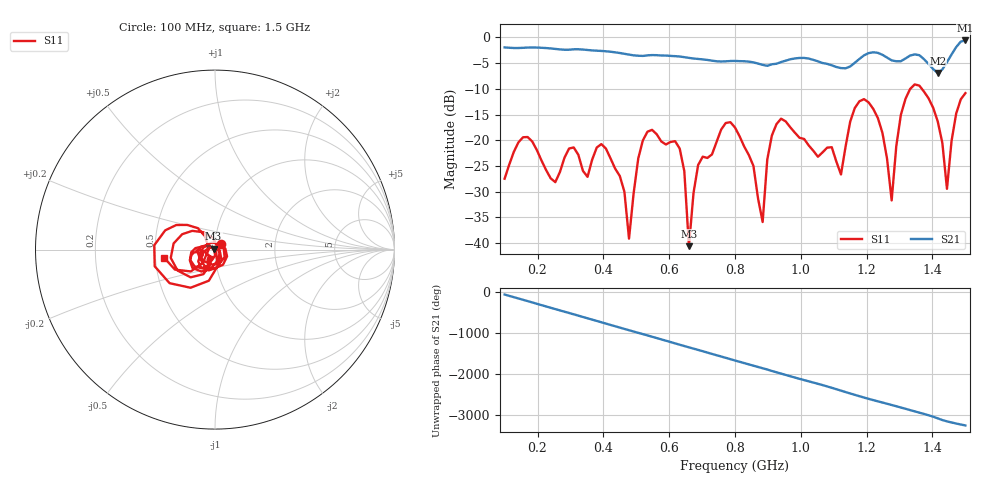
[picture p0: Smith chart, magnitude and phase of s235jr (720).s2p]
! NanoVNA-App
! Date: 2025-09-25 15:09:46
! Start: 100MHz Stop: 1,5GHz Points: 101
! S-Parameter data: F S11 S21 S12 S22
# Hz S RI R 50
!  Frequency  S11_Real  S11_Imag  S21_Real  S21_Imag  S12_Real  S12_Imag  S22_Real  S22_Imag
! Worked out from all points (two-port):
!   101 points, 100 MHz to 1.5 GHz, reference 50 ohm
!   highest |S21| = -0.62 dB at 1.5 GHz (marker M1); lowest = -7.0 dB at 1.416 GHz (marker M2)
!   |S21| within 3 dB of the highest: start of sweep to 517.8 MHz; 520.8 MHz to 603.7 MHz (82.96 MHz wide, 14.8 % of centre) (the widest 2 of 5)
!   lowest |S11| = -40.6 dB at 660 MHz (marker M3), VSWR 1.02, Z = 49.2 + j0.515 ohm
!   |S11| at or under -10 dB: start of sweep to 1.333 GHz; 1.367 GHz to end of sweep
!   S12 and S22 are empty: the file has one direction only
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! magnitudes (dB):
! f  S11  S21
! 100 MHz  -27.5  -2.0
! 156 MHz  -19.4  -2.0
! 338 MHz  -25.9  -2.4
! 408 MHz  -21.6  -2.7
! 478 MHz  -39.1  -3.4
! 520 MHz  -20.0  -3.6
! 576 MHz  -20.2  -3.5
! 632 MHz  -21.6  -3.7
! 660 MHz  -40.6  -4.0
! 688 MHz  -24.8  -4.2
! 800 MHz  -17.5  -4.6
! 884 MHz  -35.9  -5.4
! 926 MHz  -16.9  -5.1
! 1.038 GHz  -22.0  -4.4
! 1.122 GHz  -26.7  -6.0
! 1.192 GHz  -12.0  -3.5
! 1.248 GHz  -18.6  -3.4
! 1.276 GHz  -31.7  -4.5
! 1.332 GHz  -10.0  -3.6
! 1.416 GHz  -16.3  -7.0
! 1.444 GHz  -29.4  -4.8
! 1.5 GHz  -10.9  -0.6
